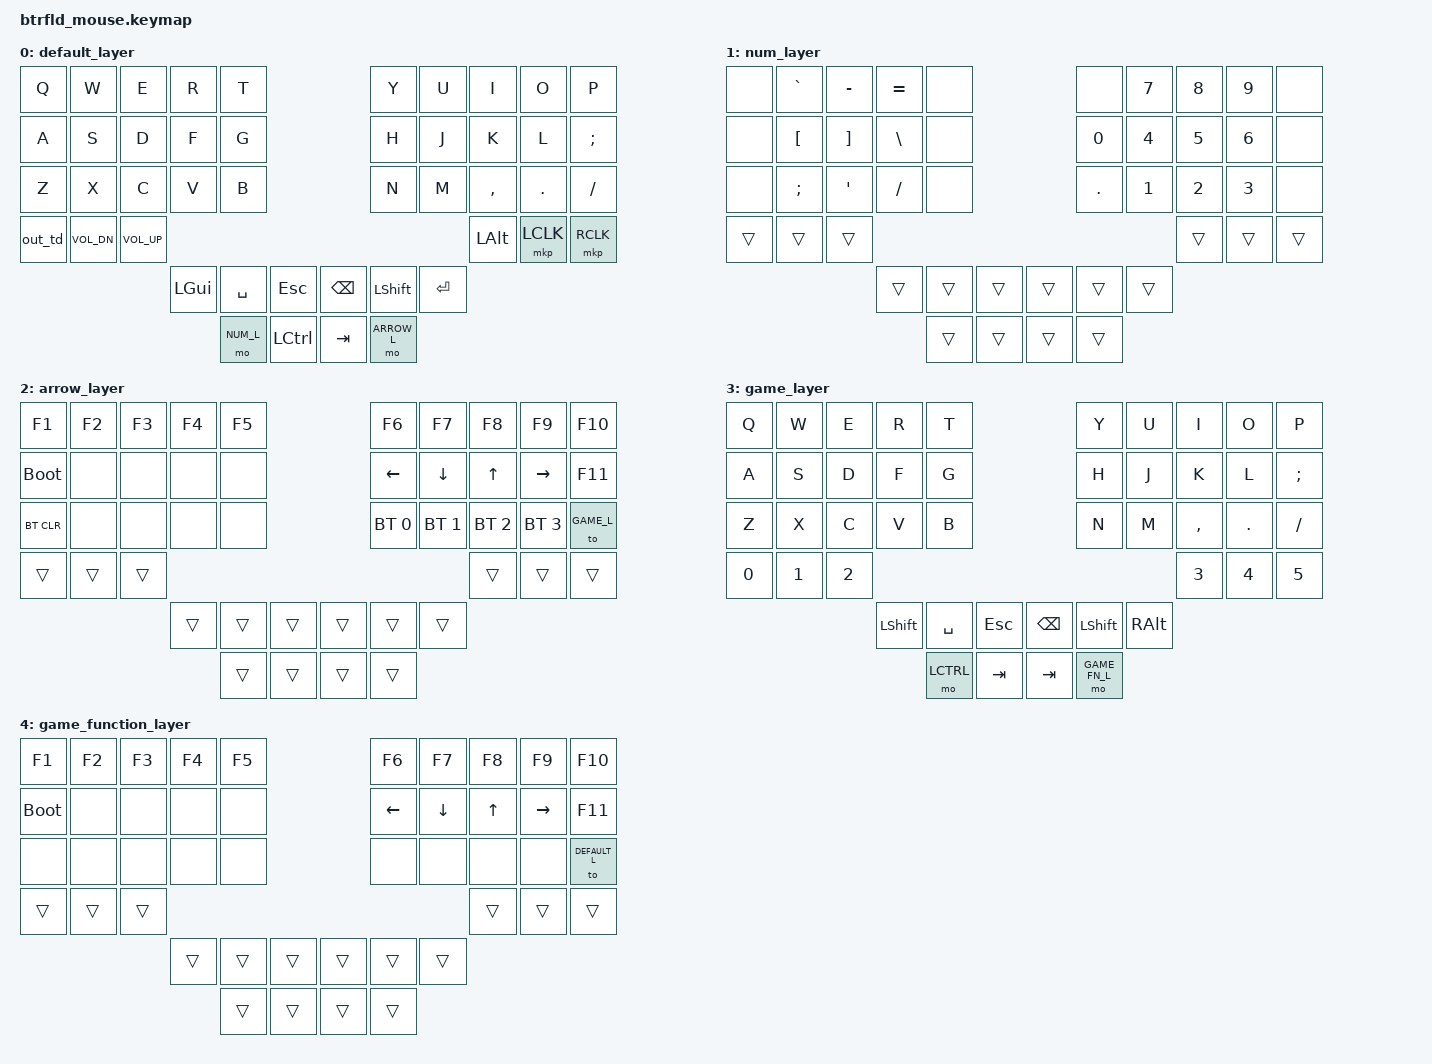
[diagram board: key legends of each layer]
#include <behaviors.dtsi>
#include <dt-bindings/zmk/keys.h>
#include <dt-bindings/zmk/midi.h>
#include <dt-bindings/zmk/bt.h>
#include <dt-bindings/zmk/outputs.h>



// go to bootloader: &bootloader
// presents key from higher layer: &trans
// no function: &none

#define DEFAULT_L  0
#define NUM_L      1
#define ARROW_L    2
#define GAME_L     3
#define GAME_FN_L 4





/ {


// TODO need function/macro that shows the current bluetooth device in use
// also need to modify the BT_SEL funcs so they show the bluetooth device in use for a short period after changing


// TODO need to have similar check func/macro for output selection
// then also when OUT_TOG is pressed, light either blue or green leds

// switch the bt device depending on the number of taps on td0
    behaviors {
        out_td: tap_dance_0 {
            compatible = "zmk,behavior-tap-dance";
            label = "TAP_DANCE_0";
            #binding-cells = <0>;
            tapping-term-ms = <200>;
            bindings = <&out OUT_SHO>, <&out OUT_BLE>, <&out OUT_USB>;
        };
    };

    keymap {
        compatible = "zmk,keymap";

        default_layer {
// --------------------------------------------------------------------------------------------------------------------------------------------------------------------
// |    Q    |    W    |    E    |    R    |    T    |                                          |    Y    |    U    |    I    |    O    |    P    |
// |    A    |    S    |    D    |    F    |    G    |                                          |    H    |    J    |    K    |    L    |    ;    |
// |    Z    |    X    |    C    |    V    |    B    |                                          |    N    |    M    |    ,    |    .    |    /    |
// |BT/USB td|  VOL_DN | VOL_UP  |                                                                                  |   LALT  |   DEL   |   bt sho  |
//                               |   GUI   |   SPACE | ESC     |                      |backspace| L SHIFT |  ENTER  |
//                                         |NUM_LAYER| l_ctrl  |                      |   TAB   |ARROW_LAYER|

bindings = <
      &kp Q     &kp W     &kp E     &kp R      &kp T                                               &kp Y     &kp U     &kp I     &kp O     &kp P   
      &kp A     &kp S     &kp D     &kp F      &kp G                                               &kp H     &kp J     &kp K     &kp L     &kp SEMI
      &kp Z     &kp X     &kp C     &kp V      &kp B                                               &kp N     &kp M     &kp COMMA &kp DOT   &kp FSLH
    &out_td &kp C_VOL_DN &kp C_VOL_UP                                                                                   &kp LALT  &mkp LCLK   &mkp RCLK
                                  &kp LGUI    &kp SPC   &kp ESC                         &kp BSPC  &kp LSHFT  &kp ENTER
                                              &mo NUM_L &kp LCTRL                       &kp TAB   &mo ARROW_L
            >;
        };

        num_layer {
bindings = <
      &none   &kp GRAVE &kp MINUS &kp EQUAL   &none                                               &none     &kp N7    &kp N8    &kp N9     &none
      &none   &kp LBKT  &kp RBKT   &kp BSLH   &none                                               &kp N0    &kp N4    &kp N5    &kp N6     &none
      &none   &kp SEMI   &kp SQT   &kp FSLH   &none                                               &kp DOT   &kp N1    &kp N2    &kp N3    &none
      &trans    &trans    &trans                                                                                      &trans   &trans    &trans
                                   &trans    &trans   &trans                        &trans   &trans  &trans
                                             &trans   &trans                        &trans   &trans
            >;
        };

        arrow_layer {
bindings = <
      &kp F1   &kp F2  &kp F3   &kp F4   &kp F5                                               &kp F6     &kp F7      &kp F8    &kp F9     &kp F10
    &bootloader  &none  &none   &none   &none                                                &kp LEFT    &kp DOWN    &kp UP    &kp RIGHT  &kp F11
   &bt BT_CLR    &none &none    &none   &none                                           &bt BT_SEL 0  &bt BT_SEL 1 &bt BT_SEL 2 &bt BT_SEL 3  &to GAME_L
      &trans    &trans  &trans                                                                                        &trans     &trans       &trans
                                   &trans    &trans   &trans                        &trans   &trans  &trans
                                             &trans   &trans                        &trans   &trans
            >;
        };

        game_layer {
bindings = <
      &kp Q     &kp W     &kp E     &kp R      &kp T                                               &kp Y     &kp U     &kp I     &kp O     &kp P   
      &kp A     &kp S     &kp D     &kp F      &kp G                                               &kp H     &kp J     &kp K     &kp L     &kp SEMI
      &kp Z     &kp X     &kp C     &kp V      &kp B                                               &kp N     &kp M     &kp COMMA &kp DOT   &kp FSLH
      &kp N0     &kp N1   &kp N2                                                                                       &kp N3  &kp N4      &kp N5
                                  &kp LSHFT    &kp SPC   &kp ESC                      &kp BSPC  &kp LSHFT  &kp RALT
                                              &mo LCTRL &kp TAB                       &kp TAB   &mo GAME_FN_L
            >;
        };

        game_function_layer {
bindings = <
      &kp F1   &kp F2  &kp F3   &kp F4   &kp F5                                               &kp F6     &kp F7      &kp F8    &kp F9     &kp F10
    &bootloader  &none  &none   &none   &none                                                &kp LEFT    &kp DOWN    &kp UP    &kp RIGHT  &kp F11
      &none     &none   &none   &none   &none                                                &none       &none       &none     &none  &to DEFAULT_L
      &trans    &trans  &trans                                                                                       &trans     &trans       &trans
                                   &trans    &trans   &trans                        &trans   &trans  &trans
                                             &trans   &trans                        &trans   &trans
            >;
        };

    };
};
